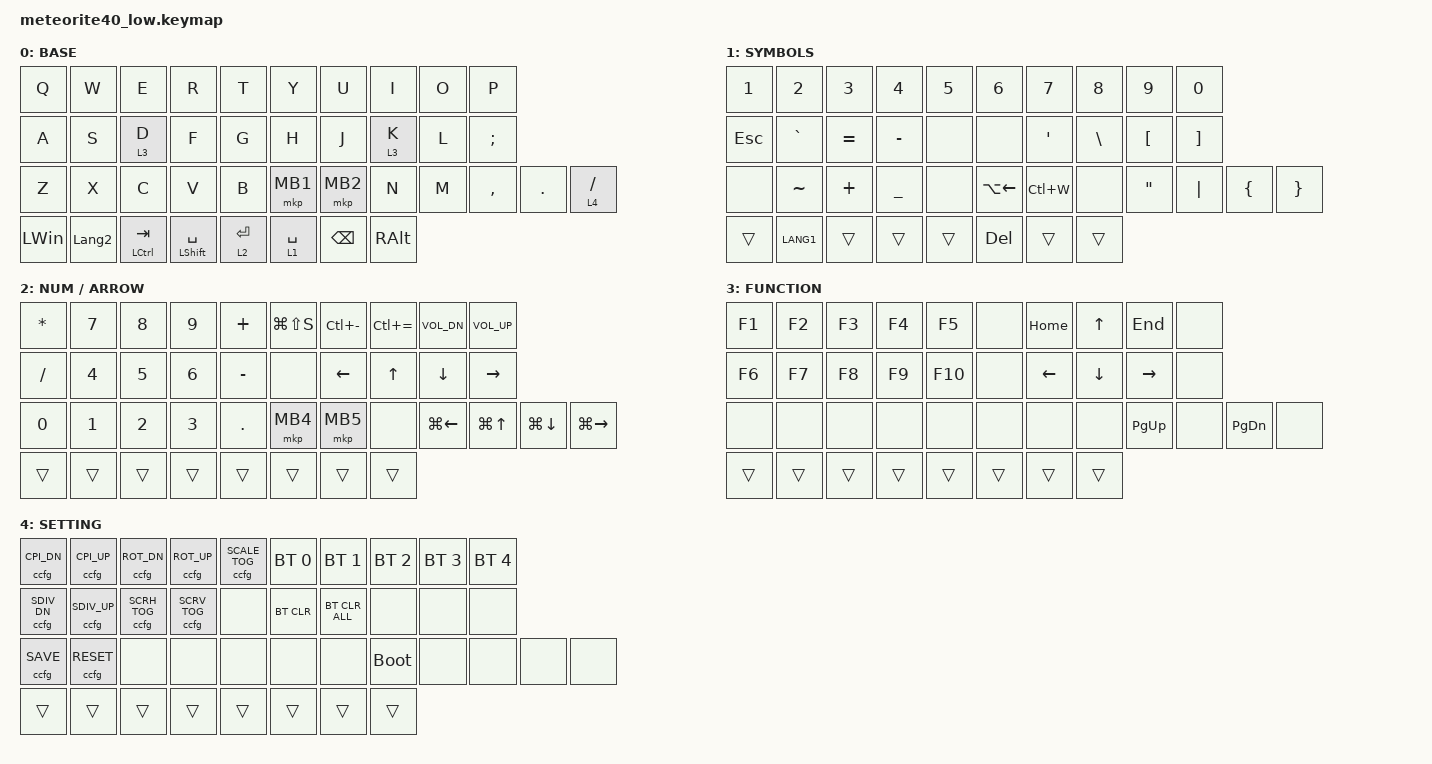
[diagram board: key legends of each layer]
#include <behaviors/custom_config.dtsi>
#include <dt-bindings/zmk/custom_config.h>
#include <behaviors.dtsi>
#include <dt-bindings/zmk/bt.h>
#include <dt-bindings/zmk/keys.h>
#include <dt-bindings/zmk/pointing.h>

&mt {
    flavor = "tap-preferred"; // change hold to tap
    tapping-term-ms = <200>;
    quick-tap-ms = <150>; // change 200 to 150
};

&lt {
    flavor = "tap-preferred";
    tapping-term-ms = <150>; // change 200 to 150
    quick-tap-ms = <150>; // change 200 to 150
};

/ {
    combos {
        compatible = "zmk,combos";

        lang1 {
            bindings = <&kp LANG1>;
            key-positions = <12 13>; /* D + F */
            layers = <0>;
        };

        lang2 {
            bindings = <&kp LANG2>;
            key-positions = <16 17>; /* J + K */
            layers = <0>;
        };

        esc {
            bindings = <&kp ESCAPE>;
            key-positions = <20 21>; /* Z + X */
            layers = <0>;
        };

        tab {
            bindings = <&kp TAB>;
            key-positions = <0 1>; /* Q + W */
            layers = <0>;
        };

        home {
            bindings = <&kp HOME>;
            key-positions = <16 17>; /* J + K (on layer 2) */
            layers = <2>;
        };

        end {
            bindings = <&kp END>;
            key-positions = <18 19>; /* L + - (on layer 2) */
            layers = <2>;
        };

        ctrl_home {
            bindings = <&kp LC(HOME)>;
            key-positions = <16 18>; /* J + L (on layer 2) */
            layers = <2>;
        };

        ctrl_end {
            bindings = <&kp LC(END)>;
            key-positions = <17 19>; /* K + - (on layer 2) */
            layers = <2>;
        };
    };

    behaviors {
        hmr_r: hmr_r {
            compatible = "zmk,behavior-hold-tap";
            label = "HMR_R";
            bindings = <&kp>, <&kp>;

            #binding-cells = <2>;
            tapping-term-ms = <200>;
            flavor = "balanced";
            hold-trigger-on-release;
            require-prior-idle-ms = <150>;
            hold-trigger-key-positions = <0 1 2 3 4 10 11 12 13 14 20 21 22 23 24 32 33 34 35>;
        };

        hmr_r_2: hmr_r_2 {
            compatible = "zmk,behavior-hold-tap";
            label = "HMR_R_2";
            bindings = <&kp>, <&kp>;

            #binding-cells = <2>;
            tapping-term-ms = <200>;
            flavor = "balanced";
            hold-trigger-on-release;
            require-prior-idle-ms = <150>;
            hold-while-undecided;
            hold-trigger-key-positions = <0 1 2 3 4 10 11 12 13 14 20 21 22 23 24 32 33 34 35>;
        };

        hmr_l: hmr_l {
            compatible = "zmk,behavior-hold-tap";
            label = "HMR_L";
            bindings = <&kp>, <&kp>;

            #binding-cells = <2>;
            tapping-term-ms = <200>;
            flavor = "balanced";
            hold-trigger-on-release;
            require-prior-idle-ms = <150>;
            hold-trigger-key-positions = <5 6 7 8 9 15 16 18 17 19 27 28 29 30 31 36 37 38 39>;
        };

        hmr_l_2: hmr_l_2 {
            compatible = "zmk,behavior-hold-tap";
            label = "HMR_L_2";
            bindings = <&kp>, <&kp>;

            #binding-cells = <2>;
            tapping-term-ms = <200>;
            require-prior-idle-ms = <150>;
            flavor = "balanced";
            hold-while-undecided;
            hold-trigger-on-release;
            hold-trigger-key-positions = <5 6 7 8 9 15 16 17 18 19 27 28 29 30 31 36 37 38 39>;
        };

        hr_lt: hr_lt {
            compatible = "zmk,behavior-hold-tap";
            label = "HR_LT";
            bindings = <&mo>, <&kp>;

            #binding-cells = <2>;
            tapping-term-ms = <200>;
            require-prior-idle-ms = <150>;
            flavor = "balanced";
            hold-trigger-on-release;
        };
    };

    keymap {
        compatible = "zmk,keymap";
        layout = &LOW_PROFILE_DEFAULT;

        win_default_layer {
            display-name = "BASE";
            bindings = <
&kp Q     &kp W           &kp E                      &kp R                      &kp T           &kp Y           &kp U          &kp I       &kp O  &kp P
&kp A     &kp S           &hr_lt 3 D                 &kp F                      &kp G           &kp H           &kp J          &hr_lt 3 K  &kp L  &kp SEMICOLON
&kp Z     &kp X           &kp C                      &kp V                      &kp B           &mkp MB1        &mkp MB2       &kp N       &kp M  &kp COMMA      &kp DOT  &hr_lt 4 SLASH
&kp LWIN  &kp LANGUAGE_2  &hmr_l_2 LEFT_CONTROL TAB  &hmr_l_2 LEFT_SHIFT SPACE  &hr_lt 2 ENTER  &hr_lt 1 SPACE  &kp BACKSPACE  &kp RALT
            >;
        };

        layer_1 {
            display-name = "SYMBOLS";
            bindings = <
&kp NUMBER_1  &kp NUMBER_2  &kp NUMBER_3  &kp NUMBER_4    &kp NUMBER_5  &kp NUMBER_6  &kp NUMBER_7      &kp NUMBER_8   &kp NUMBER_9       &kp NUMBER_0
&kp ESCAPE    &kp GRAVE     &kp EQUAL     &kp MINUS       &none         &none         &kp SINGLE_QUOTE  &kp BACKSLASH  &kp LEFT_BRACKET   &kp RIGHT_BRACKET
&none         &kp TILDE     &kp PLUS      &kp UNDERSCORE  &none         &kp LA(LEFT)  &kp LC(W)         &none          &kp DOUBLE_QUOTES  &kp PIPE           &kp LEFT_BRACE  &kp RIGHT_BRACE
&trans        &kp LANG1     &trans        &trans          &trans        &kp DEL       &trans            &trans
            >;
        };

        layer_2 {
            display-name = "NUM / ARROW";
            bindings = <
&kp ASTRK  &kp N7  &kp N8  &kp N9  &kp PLUS   &kp LG(LS(S))  &kp LC(MINUS)  &kp LC(EQUAL)  &kp C_VOL_DN  &kp C_VOL_UP
&kp SLASH  &kp N4  &kp N5  &kp N6  &kp MINUS  &none          &kp LEFT       &kp UP         &kp DOWN      &kp RIGHT
&kp N0     &kp N1  &kp N2  &kp N3  &kp DOT    &mkp MB4       &mkp MB5       &none          &kp LG(LEFT)  &kp LG(UP)    &kp LG(DOWN)  &kp LG(RIGHT)
&trans     &trans  &trans  &trans  &trans     &trans         &trans         &trans
            >;
        };

        layer_3 {
            display-name = "FUNCTION";
            bindings = <
&kp F1  &kp F2  &kp F3  &kp F4  &kp F5   &none   &kp HOME        &kp UP_ARROW    &kp END          &none
&kp F6  &kp F7  &kp F8  &kp F9  &kp F10  &none   &kp LEFT_ARROW  &kp DOWN_ARROW  &kp RIGHT_ARROW  &none
&none   &none   &none   &none   &none    &none   &none           &none           &kp PAGE_UP      &none  &kp PAGE_DOWN  &none
&trans  &trans  &trans  &trans  &trans   &trans  &trans          &trans
            >;
        };

        layer_4 {
            display-name = "SETTING";
            bindings = <
&ccfg C_CPI_DN   &ccfg C_CPI_UP   &ccfg C_ROT_DN    &ccfg C_ROT_UP    &ccfg C_SCALE_TOG  &bt BT_SEL 0  &bt BT_SEL 1    &bt BT_SEL 2  &bt BT_SEL 3  &bt BT_SEL 4
&ccfg C_SDIV_DN  &ccfg C_SDIV_UP  &ccfg C_SCRH_TOG  &ccfg C_SCRV_TOG  &none              &bt BT_CLR    &bt BT_CLR_ALL  &none         &none         &none
&ccfg C_SAVE     &ccfg C_RESET    &none             &none             &none              &none         &none           &bootloader   &none         &none         &none  &none
&trans           &trans           &trans            &trans            &trans             &trans        &trans          &trans
            >;
        };
    };
};
